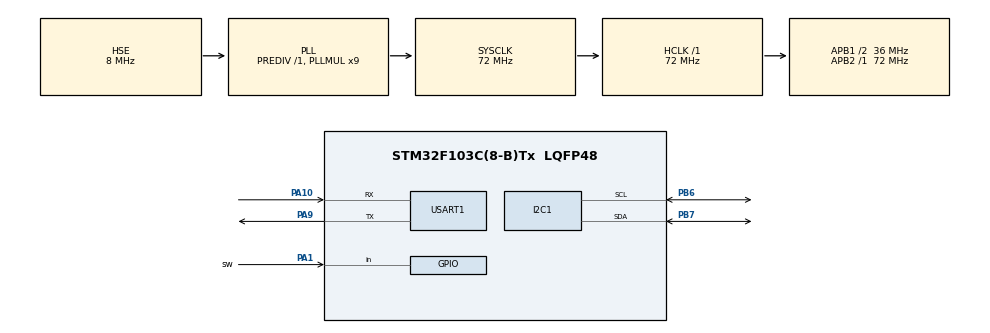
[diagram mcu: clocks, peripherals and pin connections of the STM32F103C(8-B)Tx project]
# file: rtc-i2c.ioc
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Mcu.Family=STM32F1
Mcu.Name=STM32F103C(8-B)Tx
Mcu.Package=LQFP48
NVIC.PriorityGroup=NVIC_PRIORITYGROUP_4
PA1.GPIO_Label=sw
PA1.GPIO_PuPd=GPIO_PULLUP
PA1.Signal=GPIO_Input
PA10.Mode=Asynchronous
PA10.Signal=USART1_RX
PA13.Mode=Trace_Asynchronous_SW
PA13.Signal=SYS_JTMS-SWDIO
PA14.Mode=Trace_Asynchronous_SW
PA14.Signal=SYS_JTCK-SWCLK
PA9.Mode=Asynchronous
PA9.Signal=USART1_TX
PB3.Mode=Trace_Asynchronous_SW
PB3.Signal=SYS_JTDO-TRACESWO
PB6.Mode=I2C
PB6.Signal=I2C1_SCL
PB7.Mode=I2C
PB7.Signal=I2C1_SDA
PD0-OSC_IN.Mode=HSE-External-Oscillator
PD0-OSC_IN.Signal=RCC_OSC_IN
PD1-OSC_OUT.Mode=HSE-External-Oscillator
PD1-OSC_OUT.Signal=RCC_OSC_OUT
ProjectManager.HeapSize=0x200
ProjectManager.StackSize=0x400
ProjectManager.TargetToolchain=STM32CubeIDE
RCC.AHBFreq_Value=72000000
RCC.APB1CLKDivider=RCC_HCLK_DIV2
RCC.APB1Freq_Value=36000000
RCC.APB1TimFreq_Value=72000000
RCC.APB2Freq_Value=72000000
RCC.APB2TimFreq_Value=72000000
RCC.HCLKFreq_Value=72000000
RCC.PLLMUL=RCC_PLL_MUL9
RCC.PLLSourceVirtual=RCC_PLLSOURCE_HSE
RCC.SYSCLKFreq_VALUE=72000000
RCC.SYSCLKSource=RCC_SYSCLKSOURCE_PLLCLK
RCC.USBFreq_Value=72000000
USART1.VirtualMode=VM_ASYNC
board=custom

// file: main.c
/* USER CODE BEGIN Header */
/**
  ******************************************************************************
  * @file           : main.c
  * @brief          : Main program body
  ******************************************************************************
  * @attention
  *
  * <h2><center>&copy; Copyright (c) 2021 STMicroelectronics.
  * All rights reserved.</center></h2>
  *
  * This software component is licensed by ST under BSD 3-Clause license,
  * the "License"; You may not use this file except in compliance with the
  * License. You may obtain a copy of the License at:
  *                        opensource.org/licenses/BSD-3-Clause
  *
  ******************************************************************************
  */
/* USER CODE END Header */
#include "main.h"

/* USER CODE BEGIN Includes */
#include "stdio.h"
/* USER CODE END Includes */

I2C_HandleTypeDef hi2c1;

UART_HandleTypeDef huart1;

/* USER CODE BEGIN PV */
static uint8_t RTC_ADDR = 0xD0;		//DS3231
uint8_t time_register[7];
int sec = 0, min = 5, hour = 15, day = 2, date = 18, month = 10, year = 21;
/* USER CODE END PV */

void SystemClock_Config(void);
static void MX_GPIO_Init(void);
static void MX_I2C1_Init(void);
static void MX_USART1_UART_Init(void);
/* USER CODE BEGIN PFP */
void getTime(void);
void setTime(void);
/* USER CODE END PFP */

int main(void)
{

  /* MCU Configuration--------------------------------------------------------*/

  /* Reset of all peripherals, Initializes the Flash interface and the Systick. */
  HAL_Init();

  /* Configure the system clock */
  SystemClock_Config();

  /* Initialize all configured peripherals */
  MX_GPIO_Init();
  MX_I2C1_Init();
  MX_USART1_UART_Init();
  /* USER CODE BEGIN 2 */
//  setTime();															//<------  time setting function
  /* USER CODE END 2 */

  /* Infinite loop */
  /* USER CODE BEGIN WHILE */
  while (1)
  {
	  getTime();
	  HAL_Delay(1000);
    /* USER CODE END WHILE */

  }
}

void SystemClock_Config(void)
{
  RCC_OscInitTypeDef RCC_OscInitStruct = {0};
  RCC_ClkInitTypeDef RCC_ClkInitStruct = {0};

  /** Initializes the RCC Oscillators according to the specified parameters
  * in the RCC_OscInitTypeDef structure.
  */
  RCC_OscInitStruct.OscillatorType = RCC_OSCILLATORTYPE_HSE;
  RCC_OscInitStruct.HSEState = RCC_HSE_ON;
  RCC_OscInitStruct.HSEPredivValue = RCC_HSE_PREDIV_DIV1;
  RCC_OscInitStruct.HSIState = RCC_HSI_ON;
  RCC_OscInitStruct.PLL.PLLState = RCC_PLL_ON;
  RCC_OscInitStruct.PLL.PLLSource = RCC_PLLSOURCE_HSE;
  RCC_OscInitStruct.PLL.PLLMUL = RCC_PLL_MUL9;
  if (HAL_RCC_OscConfig(&RCC_OscInitStruct) != HAL_OK)
  {
    Error_Handler();
  }
  /** Initializes the CPU, AHB and APB buses clocks
  */
  RCC_ClkInitStruct.ClockType = RCC_CLOCKTYPE_HCLK|RCC_CLOCKTYPE_SYSCLK
                              |RCC_CLOCKTYPE_PCLK1|RCC_CLOCKTYPE_PCLK2;
  RCC_ClkInitStruct.SYSCLKSource = RCC_SYSCLKSOURCE_PLLCLK;
  RCC_ClkInitStruct.AHBCLKDivider = RCC_SYSCLK_DIV1;
  RCC_ClkInitStruct.APB1CLKDivider = RCC_HCLK_DIV2;
  RCC_ClkInitStruct.APB2CLKDivider = RCC_HCLK_DIV1;

  if (HAL_RCC_ClockConfig(&RCC_ClkInitStruct, FLASH_LATENCY_2) != HAL_OK)
  {
    Error_Handler();
  }
}

static void MX_I2C1_Init(void)
{

  hi2c1.Instance = I2C1;
  hi2c1.Init.ClockSpeed = 100000;
  hi2c1.Init.DutyCycle = I2C_DUTYCYCLE_2;
  hi2c1.Init.OwnAddress1 = 0;
  hi2c1.Init.AddressingMode = I2C_ADDRESSINGMODE_7BIT;
  hi2c1.Init.DualAddressMode = I2C_DUALADDRESS_DISABLE;
  hi2c1.Init.OwnAddress2 = 0;
  hi2c1.Init.GeneralCallMode = I2C_GENERALCALL_DISABLE;
  hi2c1.Init.NoStretchMode = I2C_NOSTRETCH_DISABLE;
  if (HAL_I2C_Init(&hi2c1) != HAL_OK)
  {
    Error_Handler();
  }

}

static void MX_USART1_UART_Init(void)
{

  huart1.Instance = USART1;
  huart1.Init.BaudRate = 115200;
  huart1.Init.WordLength = UART_WORDLENGTH_8B;
  huart1.Init.StopBits = UART_STOPBITS_1;
  huart1.Init.Parity = UART_PARITY_NONE;
  huart1.Init.Mode = UART_MODE_TX_RX;
  huart1.Init.HwFlowCtl = UART_HWCONTROL_NONE;
  huart1.Init.OverSampling = UART_OVERSAMPLING_16;
  if (HAL_UART_Init(&huart1) != HAL_OK)
  {
    Error_Handler();
  }

}

static void MX_GPIO_Init(void)
{
  GPIO_InitTypeDef GPIO_InitStruct = {0};

  /* GPIO Ports Clock Enable */
  __HAL_RCC_GPIOD_CLK_ENABLE();
  __HAL_RCC_GPIOA_CLK_ENABLE();
  __HAL_RCC_GPIOB_CLK_ENABLE();

  /*Configure GPIO pin : sw_Pin */
  GPIO_InitStruct.Pin = sw_Pin;
  GPIO_InitStruct.Mode = GPIO_MODE_INPUT;
  GPIO_InitStruct.Pull = GPIO_PULLUP;
  HAL_GPIO_Init(sw_GPIO_Port, &GPIO_InitStruct);

}

/* USER CODE BEGIN 4 */
void getTime(void) {
	HAL_I2C_Mem_Read(&hi2c1, RTC_ADDR, 0x00, 1, time_register, 7, 1000);
//	HAL_I2C_Master_Transmit(&hi2c1, RTC_ADDR, 0x00, 1, 1000);
//	HAL_I2C_Master_Receive(&hi2c1, RTC_ADDR, time_register, 7, 1000);
	sec = ((time_register[0] >> 4) * 10) + (time_register[0] & 0x0F);
	min = ((time_register[1] >> 4) * 10) + (time_register[1] & 0x0F);
	hour = (((time_register[2] >> 4) & 0x03) * 10) + (time_register[2] & 0x0F);
	date = ((time_register[4] >> 4) * 10) + (time_register[4] & 0x0F);
	month = (((time_register[5] >> 4) & 1) * 10) + (time_register[5] & 0x0F);
	year = ((time_register[6] >> 4) * 10) + (time_register[6] & 0x0F);

	uint8_t massage[18];
	sprintf(massage, "%d:%d:%d %d/%d/%d\n", hour, min, sec, date, month, year);
	HAL_UART_Transmit(&huart1, massage, strlen(massage), 100);
}

void setTime(void) {
	time_register[0] = (((uint8_t)sec / 10) << 4) | (sec % 10);
	time_register[1] = (((uint8_t)min / 10) << 4) | (min % 10);
	time_register[2] = (((uint8_t)hour / 10) << 4) | (hour % 10);
	time_register[3] = (uint8_t)day;
	time_register[4] = (((uint8_t)date / 10) << 4) | (date % 10);
	time_register[5] = (((uint8_t)month / 10) << 4) | (month % 10);
	time_register[6] = (((uint8_t)year / 10) << 4) | (year % 10);

	HAL_I2C_Mem_Write(&hi2c1, RTC_ADDR, 0x00, 1, time_register, 7, 1000);
//	HAL_I2C_Master_Transmit(&hi2c1, RTC_ADDR, time_register, 3, 1000);

}
/* USER CODE END 4 */

void Error_Handler(void)
{
  __disable_irq();
  while (1)
  {
  }
}

/************************ (C) COPYRIGHT STMicroelectronics *****END OF FILE****/
